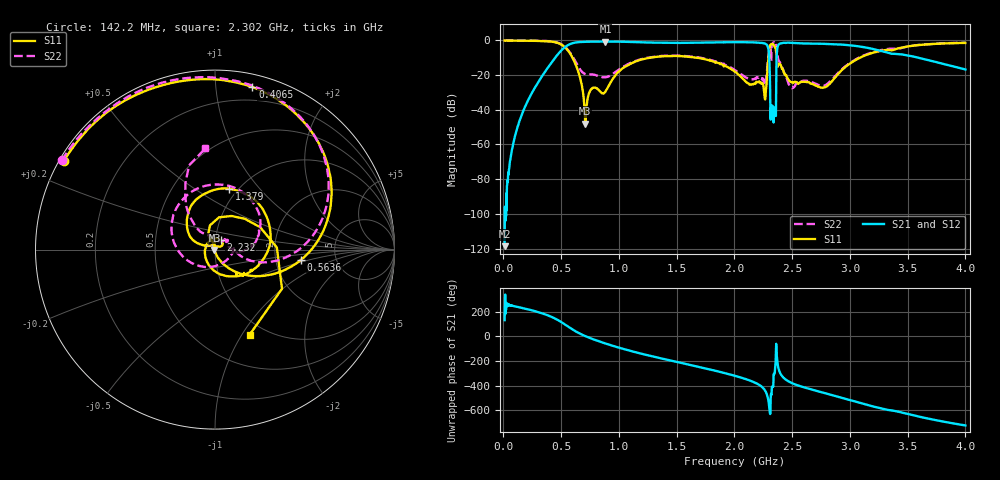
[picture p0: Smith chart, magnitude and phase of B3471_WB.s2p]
! Matrix data file written by TouchstoneData, EPCOS AG
! FILENAME: "AA47A_3_PCB04_V3_10nH_2.4nH_2.4nH_10nH.snp"
! COMMENT: "(TS/AA47A_3_PCB04_V3_10nH_2.4nH_2.4nH_10nH.s"
! INFO: nport=2, nfreq=1601
! DATE: "Mon Jan 14 16:53:41 2013"
! USER: "Wee Chuan Tay"
! port | pin | signal
!  1  |  9  |  Input
!  2  |  6  |  Output
# MHZ S RI R 50
! freq  reS11 imS11  reS21 imS21  reS12 imS12  reS22 imS22
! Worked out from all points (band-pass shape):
!   1601 points, 10 MHz to 4 GHz, reference 50 ohm
!   highest |S21| = -0.68 dB at 882.8 MHz (marker M1); lowest = -118.6 dB at 10 MHz (marker M2)
!   |S21| within 3 dB of the highest: 536.7 MHz to 2.289 GHz (1.752 GHz wide, 124 % of centre); 2.374 GHz to 3.097 GHz (723.9 MHz wide, 26.5 % of centre)
!   lowest |S11| = -47.9 dB at 708.2 MHz (marker M3), VSWR 1.01, Z = 49.7 - j0.228 ohm
!   |S11| at or under -10 dB: 598 MHz to 1.271 GHz (673.3 MHz wide, 72 % of centre); 1.675 GHz to 2.296 GHz (620.7 MHz wide, 31.3 % of centre); 2.365 GHz to 3.087 GHz (721.7 MHz wide, 26.5 % of centre)
!   |S22| runs from -27.6 to -0.1 dB; largest |S21 - S12| = 0
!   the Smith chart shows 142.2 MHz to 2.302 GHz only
!   S11 on the Smith chart (normalised r, x): 142.2 MHz: 0.01, +0.27; 406.5 MHz: 0.09, +1.25; 563.6 MHz: 2.81, -0.41; 1.379 GHz: 0.91, +0.70; 2.232 GHz: 1.06, +0.11; 2.302 GHz: 0.84, -1.08
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10  -0.985 0.0355  -7.94e-07 8.59e-07  -7.94e-07 8.59e-07  -0.9864 0.0365
142.1687  -0.8426 0.494  -0.00285 -0.00422  -0.00285 -0.00422  -0.8526 0.4978
406.5063  0.2085 0.9056  -0.1994 0.0599  -0.1994 0.0599  0.1836 0.9216
563.6125  0.4807 -0.0558  0.1568 0.7301  0.1568 0.7301  0.5043 0.0317
675.8312  0.0212 -0.0518  0.8633 0.2571  0.8633 0.2571  0.1264 -0.0214
708.25  -0.00329 -0.00229  0.9076 0.043  0.9076 0.043  0.1074 0.00223
882.8125  -0.0256 0.0216  0.4976 -0.7795  0.4976 -0.7795  0.0364 -0.0783
1341.662  0.0283 0.3394  -0.8494 -0.098  -0.8494 -0.098  -0.1243 0.3262
1379.069  0.077 0.3392  -0.8506 0.0218  -0.8506 0.0218  -0.0776 0.3482
1735.675  0.29 -0.0168  -0.1924 0.8394  -0.1924 0.8394  0.2526 0.1644
2005  0.00488 -0.124  0.6843 0.5653  0.6843 0.5653  0.1381 -0.0108
2231.931  0.0311 0.0514  0.5983 -0.6013  0.5983 -0.6013  0.0608 0.0533
2266.844  0.00335 0.0196  0.1039 -0.7922  0.1039 -0.7922  -0.00591 0.0603
2301.756  0.1927 -0.4745  -0.2367 0.198  -0.2367 0.198  -0.0535 0.5633
2339.162  0.5121 -0.5523  0.00282 0.00324  0.00282 0.00324  0.807 0.3324
2389.037  0.1743 0.1202  0.1722 0.7701  0.1722 0.7701  0.135 -0.2083
2456.369  -0.0441 -0.0739  0.8569 0.0246  0.8569 0.0246  0.0374 -0.0647
2670.831  0.0163 0.0531  0.2446 -0.7689  0.2446 -0.7689  0.0603 0.0146
3000.006  -0.0407 0.2113  -0.6693 -0.2707  -0.6693 -0.2707  0.0779 0.2083
3336.662  0.5019 0.1754  -0.2209 0.3706  -0.2209 0.3706  0.5709 -0.00489
3620.95  0.6263 -0.4074  0.1369 0.2671  0.1369 0.2671  0.5206 -0.5443
4000  -0.1341 -0.8327  0.1445 -0.0105  0.1445 -0.0105  -0.2715 -0.8089
